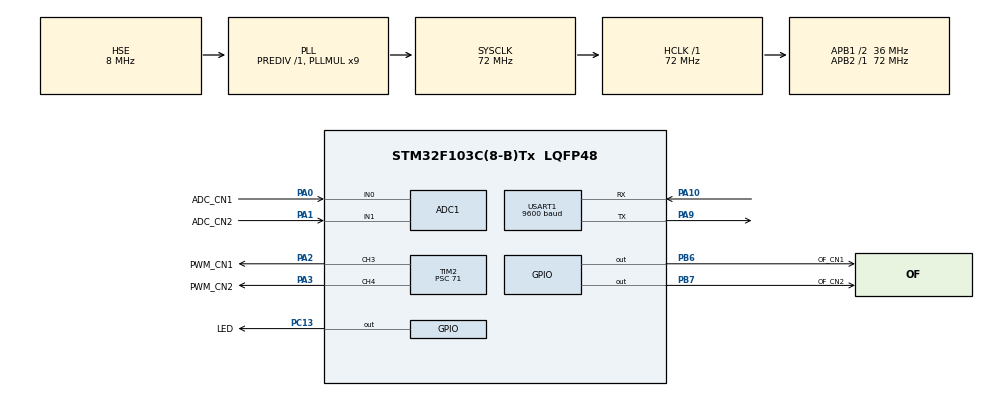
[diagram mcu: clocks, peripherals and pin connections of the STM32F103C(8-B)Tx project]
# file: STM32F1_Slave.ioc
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ADC1.Channel-0\#ChannelRegularConversion=ADC_CHANNEL_0
ADC1.ContinuousConvMode=DISABLE
ADC1.DiscontinuousConvMode=DISABLE
ADC1.NbrOfConversion=1
ADC1.NbrOfConversionFlag=1
ADC1.Rank-0\#ChannelRegularConversion=1
ADC1.SamplingTime-0\#ChannelRegularConversion=ADC_SAMPLETIME_239CYCLES_5
ADC1.master=1
IWDG.Prescaler=IWDG_PRESCALER_256
IWDG.Reload=1500
Mcu.Family=STM32F1
Mcu.Name=STM32F103C(8-B)Tx
Mcu.Package=LQFP48
NVIC.ADC1_2_IRQn=true\:0\:0\:false\:false\:true\:true\:true
NVIC.PriorityGroup=NVIC_PRIORITYGROUP_4
NVIC.TIM3_IRQn=true\:0\:0\:false\:false\:true\:true\:true
NVIC.USART1_IRQn=true\:0\:0\:false\:false\:true\:true\:true
PA0-WKUP.GPIO_Label=ADC_CN1
PA0-WKUP.Signal=ADCx_IN0
PA1.GPIO_Label=ADC_CN2
PA1.Signal=ADCx_IN1
PA10.Mode=Asynchronous
PA10.Signal=USART1_RX
PA13.Mode=Serial_Wire
PA13.Signal=SYS_JTMS-SWDIO
PA14.Mode=Serial_Wire
PA14.Signal=SYS_JTCK-SWCLK
PA2.GPIO_Label=PWM_CN1
PA2.Signal=S_TIM2_CH3
PA3.GPIO_Label=PWM_CN2
PA3.Signal=S_TIM2_CH4
PA9.Mode=Asynchronous
PA9.Signal=USART1_TX
PB6.GPIO_Label=OF_CN1
PB6.GPIO_PuPd=GPIO_PULLDOWN
PB6.Signal=GPIO_Output
PB7.GPIO_Label=OF_CN2
PB7.GPIO_PuPd=GPIO_PULLDOWN
PB7.Signal=GPIO_Output
PC13-TAMPER-RTC.GPIO_Label=LED
PC13-TAMPER-RTC.GPIO_PuPd=GPIO_PULLUP
PC13-TAMPER-RTC.Signal=GPIO_Output
PD0-OSC_IN.Mode=HSE-External-Oscillator
PD0-OSC_IN.Signal=RCC_OSC_IN
PD1-OSC_OUT.Mode=HSE-External-Oscillator
PD1-OSC_OUT.Signal=RCC_OSC_OUT
ProjectManager.HeapSize=0x200
ProjectManager.StackSize=0x400
ProjectManager.TargetToolchain=Makefile
RCC.ADCPresc=RCC_ADCPCLK2_DIV6
RCC.AHBFreq_Value=72000000
RCC.APB1CLKDivider=RCC_HCLK_DIV2
RCC.APB1Freq_Value=36000000
RCC.APB1TimFreq_Value=72000000
RCC.APB2Freq_Value=72000000
RCC.APB2TimFreq_Value=72000000
RCC.HCLKFreq_Value=72000000
RCC.PLLMUL=RCC_PLL_MUL9
RCC.PLLSourceVirtual=RCC_PLLSOURCE_HSE
RCC.SYSCLKFreq_VALUE=72000000
RCC.SYSCLKSource=RCC_SYSCLKSOURCE_PLLCLK
RCC.USBFreq_Value=72000000
SH.ADCx_IN0.0=ADC1_IN0,IN0
SH.ADCx_IN1.0=ADC1_IN1,IN1
SH.S_TIM2_CH3.0=TIM2_CH3,PWM Generation3 CH3
SH.S_TIM2_CH4.0=TIM2_CH4,PWM Generation4 CH4
TIM2.Channel-PWM\ Generation3\ CH3=TIM_CHANNEL_3
TIM2.Channel-PWM\ Generation4\ CH4=TIM_CHANNEL_4
TIM2.Period=999
TIM2.Prescaler=71
TIM3.Period=49
TIM3.Prescaler=71
USART1.BaudRate=9600
USART1.VirtualMode=VM_ASYNC
VP_IWDG_VS_IWDG.Mode=IWDG_Activate
VP_TIM2_VS_ClockSourceINT.Mode=Internal
VP_TIM3_VS_ClockSourceINT.Mode=Internal
board=custom

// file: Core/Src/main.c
/* USER CODE BEGIN Header */
/**
  ******************************************************************************
  * @file           : main.c
  * @brief          : Main program body
  ******************************************************************************
  * @attention
  *
  * Copyright (c) 2022 STMicroelectronics.
  * All rights reserved.
  *
  * This software is licensed under terms that can be found in the LICENSE file
  * in the root directory of this software component.
  * If no LICENSE file comes with this software, it is provided AS-IS.
  *
  ******************************************************************************
  */
/* USER CODE END Header */
#include "main.h"
#include "adc.h"
#include "iwdg.h"
#include "tim.h"
#include "usart.h"
#include "gpio.h"

/* USER CODE BEGIN Includes */

#include "plc.h"
#include "string.h"

/* USER CODE END Includes */

/* USER CODE BEGIN PTD */
typedef enum
{
  RXREADY,
  GET_NEW_MESSAGE,
  PROCESS_MESSAGE
} UARTStateRX;

// typedef enum
// {
//   SENDING,
//   TXREADY
// } UARTStateTX;

typedef struct
{
  uint16_t ADC_0;
  uint16_t ADC_1;
  uint8_t channel;
  uint16_t count[2];
  uint32_t ADC_RMS[2];
  float voltage_RMS[2];
} ADC_t;

typedef struct
{
  uint16_t CN1_Current_mA;
  uint16_t CN2_Current_mA;
} Current_t;

typedef enum
{
  READY,
  MEASURING,
} MeasureState;

/* USER CODE END PTD */

/* USER CODE BEGIN PD */

#define PWM_MAX                 (800)
#define PWM_MIN                 (0)
#define ADC_RESOLUTION          (4095)
#define VCC_mV                  (3300)
#define ADC_MEAN                (3066)
#define SAMPLE                  (20000)
#define OFFSET_CN1_LOW          (-30)
#define OFFSET_CN2_LOW          (-6)
#define LOW_THR_PWM_CN2         (300)
#define SENSITIVITY_mV_per_A    (185)
#define DELAY_READ_CURRENT      (5000)
#define DELAY_RX_CHECK          (5000)
/* USER CODE END PD */

void SystemClock_Config(void);
/* USER CODE BEGIN PFP */

void PLC_MessageHandle(PLCMessage message);

void Measure_Current(void);

/* USER CODE END PFP */

/* USER CODE BEGIN 0 */
uint8_t UART1_rxBuffer[1];
uint8_t message_buffer[PLC_LEN_OF_MESSAGE];
uint8_t byte_count = 0;
UARTStateRX RXstate = RXREADY;
uint16_t CN1_PWM = 0;
uint16_t CN2_PWM = 0;
MeasureState Mstate = READY;
ADC_t ADC = {0, 0, 0, {0, 0}, {0, 0}, {0.0, 0.0}};
Current_t Current = {0.0, 0.0};
/* USER CODE END 0 */

int main(void)
{

  /* MCU Configuration--------------------------------------------------------*/

  /* Reset of all peripherals, Initializes the Flash interface and the Systick. */
  HAL_Init();

  /* Configure the system clock */
  SystemClock_Config();

  /* Initialize all configured peripherals */
  MX_GPIO_Init();
  MX_USART1_UART_Init();
  MX_ADC1_Init();
  MX_TIM2_Init();
  MX_IWDG_Init();
  MX_TIM3_Init();
  /* USER CODE BEGIN 2 */
  HAL_UART_Receive_IT(&huart1, UART1_rxBuffer, 1);
  HAL_Delay(1000);
  uint32_t TickMeasure = 0;
  uint32_t TickRXCheck = 0;
  PLCMessage message;
  uint8_t error[8];

  /* USER CODE END 2 */

  /* Infinite loop */
  while (1)
  {

    /* USER CODE BEGIN 3 */

    HAL_IWDG_Refresh(&hiwdg);

    if (RXstate == PROCESS_MESSAGE)
    {
      HAL_GPIO_TogglePin(LED_GPIO_Port, LED_Pin);
      if (PLC_MessageParser(message_buffer, &message) != HAL_OK)
      {
        message.device.roomAddr = PLC_ROOM_ADDR;
        message.device.deviceAddr = PLC_DEVICE_ADDR;
        message.device.channel = 0;
        message.messageType = PLC_RESPONSE_MESSAGE;
        message.payload = 0;
        PLC_MessageGenerate(error, message);
        HAL_Delay(1000);
        HAL_UART_Transmit(&huart1, (uint8_t*)error, 8, 10);
      }
      else
      {
        PLC_MessageHandle(message);
        HAL_Delay(1000);
        HAL_GPIO_TogglePin(LED_GPIO_Port, LED_Pin);
      }
      RXstate = RXREADY;
      TickRXCheck = HAL_GetTick();
      HAL_UART_Receive_IT(&huart1, UART1_rxBuffer, 1);
    }

    if ((HAL_GetTick() - TickMeasure) > DELAY_READ_CURRENT)
    {
      TickMeasure = HAL_GetTick();
      Measure_Current();
    }

    if (RXstate == RXREADY)   {TickRXCheck = HAL_GetTick();}
    if (((HAL_GetTick() - TickRXCheck) > DELAY_RX_CHECK) && (RXstate == GET_NEW_MESSAGE))
    {
      TickRXCheck = HAL_GetTick();
      uint8_t error[8];
      message.device.roomAddr = PLC_ROOM_ADDR;
      message.device.deviceAddr = PLC_DEVICE_ADDR;
      message.device.channel = 0;
      message.messageType = PLC_RESPONSE_MESSAGE;
      message.payload = 0;
      PLC_MessageGenerate(error, message);
      HAL_Delay(200);
      HAL_UART_Transmit(&huart1, (uint8_t*)error, 8, 10);
      RXstate = RXREADY;
    }
  }
  /* USER CODE END 3 */
}

void SystemClock_Config(void)
{
  RCC_OscInitTypeDef RCC_OscInitStruct = {0};
  RCC_ClkInitTypeDef RCC_ClkInitStruct = {0};
  RCC_PeriphCLKInitTypeDef PeriphClkInit = {0};

  /** Initializes the RCC Oscillators according to the specified parameters
  * in the RCC_OscInitTypeDef structure.
  */
  RCC_OscInitStruct.OscillatorType = RCC_OSCILLATORTYPE_LSI|RCC_OSCILLATORTYPE_HSE;
  RCC_OscInitStruct.HSEState = RCC_HSE_ON;
  RCC_OscInitStruct.HSEPredivValue = RCC_HSE_PREDIV_DIV1;
  RCC_OscInitStruct.HSIState = RCC_HSI_ON;
  RCC_OscInitStruct.LSIState = RCC_LSI_ON;
  RCC_OscInitStruct.PLL.PLLState = RCC_PLL_ON;
  RCC_OscInitStruct.PLL.PLLSource = RCC_PLLSOURCE_HSE;
  RCC_OscInitStruct.PLL.PLLMUL = RCC_PLL_MUL9;
  if (HAL_RCC_OscConfig(&RCC_OscInitStruct) != HAL_OK)
  {
    Error_Handler();
  }
  /** Initializes the CPU, AHB and APB buses clocks
  */
  RCC_ClkInitStruct.ClockType = RCC_CLOCKTYPE_HCLK|RCC_CLOCKTYPE_SYSCLK
                              |RCC_CLOCKTYPE_PCLK1|RCC_CLOCKTYPE_PCLK2;
  RCC_ClkInitStruct.SYSCLKSource = RCC_SYSCLKSOURCE_PLLCLK;
  RCC_ClkInitStruct.AHBCLKDivider = RCC_SYSCLK_DIV1;
  RCC_ClkInitStruct.APB1CLKDivider = RCC_HCLK_DIV2;
  RCC_ClkInitStruct.APB2CLKDivider = RCC_HCLK_DIV1;

  if (HAL_RCC_ClockConfig(&RCC_ClkInitStruct, FLASH_LATENCY_2) != HAL_OK)
  {
    Error_Handler();
  }
  PeriphClkInit.PeriphClockSelection = RCC_PERIPHCLK_ADC;
  PeriphClkInit.AdcClockSelection = RCC_ADCPCLK2_DIV6;
  if (HAL_RCCEx_PeriphCLKConfig(&PeriphClkInit) != HAL_OK)
  {
    Error_Handler();
  }
}

/* USER CODE BEGIN 4 */

void HAL_UART_RxCpltCallback(UART_HandleTypeDef *huart)
{
  if (huart->Instance == USART1)
  {
    switch (RXstate)
    {
      case (RXREADY):
      {
        if (UART1_rxBuffer[0] == '$')
        {
          RXstate = GET_NEW_MESSAGE;
          message_buffer[byte_count++] = '$';
        }
        break;
      }
      case (GET_NEW_MESSAGE):
      {
        message_buffer[byte_count++] = UART1_rxBuffer[0];

        if (byte_count == 8)
        {
          RXstate = PROCESS_MESSAGE;
          byte_count = 0;
        }
        break;
      }
      default:
        break;
    }
  }
  HAL_UART_Receive_IT(&huart1, (uint8_t*)UART1_rxBuffer, 1);
}

void HAL_TIM_PeriodElapsedCallback(TIM_HandleTypeDef *htim)
{
  if (htim->Instance == TIM3)
  {
    ADC_ChannelConfTypeDef sConfig = {0};
    if(ADC.channel == 0)  {sConfig.Channel = ADC_CHANNEL_0;}
    else  {sConfig.Channel = ADC_CHANNEL_1;}
    sConfig.Rank = ADC_REGULAR_RANK_1;
    sConfig.SamplingTime = ADC_SAMPLETIME_239CYCLES_5;
    if (HAL_ADC_ConfigChannel(&hadc1, &sConfig) != HAL_OK)  {Error_Handler();}
    HAL_ADC_Start_IT(&hadc1);
  }
}

void HAL_ADC_ConvCpltCallback(ADC_HandleTypeDef *hadc)
{
  //  If ADC CN0
  if (ADC.channel == 0)
  {
    ADC.ADC_0 = HAL_ADC_GetValue(&hadc1);
    if (ADC.ADC_0 > ADC_MEAN) {ADC.ADC_0 -= ADC_MEAN;}
    else  {ADC.ADC_0 = ADC_MEAN - ADC.ADC_0;}
    ADC.channel = 1;
    ADC.count[0]++;
    if (ADC.ADC_0 != 0)   {ADC.ADC_RMS[0] += ADC.ADC_0;}
    if (ADC.count[0] == SAMPLE)
    {
      ADC.count[0] = 0;
      ADC.ADC_RMS[0] /= SAMPLE;
      ADC.voltage_RMS[0] = (ADC.ADC_RMS[0] * VCC_mV / ADC_RESOLUTION) + OFFSET_CN1_LOW;
      if (HAL_GPIO_ReadPin(OF_CN1_GPIO_Port, OF_CN1_Pin) == GPIO_PIN_RESET) {ADC.voltage_RMS[0] = 0;}
      Current.CN1_Current_mA = ADC.voltage_RMS[0] * 1000 / SENSITIVITY_mV_per_A;
    }
  }
  else
  {
    ADC.ADC_1 = HAL_ADC_GetValue(&hadc1);
    if (ADC.ADC_1 > ADC_MEAN) {ADC.ADC_1 -= ADC_MEAN;}
    else  {ADC.ADC_1 = ADC_MEAN - ADC.ADC_1;}
    ADC.channel = 0;
    ADC.count[1]++;
    if (ADC.ADC_1 != 0)   {ADC.ADC_RMS[1] += ADC.ADC_1;}
    if (ADC.count[1] == SAMPLE)
    {
      ADC.count[1] = 0;
      ADC.ADC_RMS[1] /= SAMPLE;
      ADC.voltage_RMS[1] = (ADC.ADC_RMS[1] * VCC_mV / ADC_RESOLUTION);
      if (CN2_PWM <= LOW_THR_PWM_CN2)       {ADC.voltage_RMS[1] += OFFSET_CN2_LOW;}
      if (HAL_GPIO_ReadPin(OF_CN2_GPIO_Port, OF_CN2_Pin) == GPIO_PIN_RESET) {ADC.voltage_RMS[1] = 0;}
      Current.CN2_Current_mA = ADC.voltage_RMS[1] * 1000 / SENSITIVITY_mV_per_A;
      Mstate = READY;
      HAL_TIM_Base_Stop_IT(&htim3);
    }
  }
}

void Measure_Current(void)
{
  if (Mstate == READY)
  {
    Mstate = MEASURING;
    HAL_TIM_Base_Start_IT(&htim3);
  }
}

void PLC_MessageHandle(PLCMessage message)
{
  switch(message.messageType)
  {
    case (PLC_ONOFF_MESSAGE):
    {
      switch(message.device.channel)
      {
        case (PLC_CHANNEL_01):
          if (message.payload == ON)
          {
            HAL_TIM_PWM_Start(&htim2, TIM_CHANNEL_3);
            HAL_GPIO_WritePin(OF_CN1_GPIO_Port, OF_CN1_Pin, 1);
          }
          else
          {
            HAL_TIM_PWM_Stop(&htim2, TIM_CHANNEL_3);
            HAL_GPIO_WritePin(OF_CN1_GPIO_Port, OF_CN1_Pin, 0);
          }
          break;
        case (PLC_CHANNEL_02):
          if (message.payload == ON)
          {
            HAL_TIM_PWM_Start(&htim2, TIM_CHANNEL_4);
            HAL_GPIO_WritePin(OF_CN2_GPIO_Port, OF_CN2_Pin, 1);
          }
          else
          {
            HAL_TIM_PWM_Stop(&htim2, TIM_CHANNEL_4);
            HAL_GPIO_WritePin(OF_CN2_GPIO_Port, OF_CN2_Pin, 0);
          }
          break;
      }

      uint8_t buffer[8];
      message.device.roomAddr = PLC_ROOM_ADDR;
      message.device.deviceAddr = PLC_DEVICE_ADDR;
      message.device.channel = 0;
      message.messageType = PLC_RESPONSE_MESSAGE;
      message.payload = 1;
      PLC_MessageGenerate(buffer, message);
      HAL_Delay(1000);
      HAL_UART_Transmit(&huart1, (uint8_t*)buffer, 8, 10);

      break;
    }
    case (PLC_PWM_MESSAGE):
    {
      switch (message.device.channel)
      {
        case (PLC_CHANNEL_01):
        {
          CN1_PWM = message.payload;
          __HAL_TIM_SetCompare(&htim2, TIM_CHANNEL_3, message.payload);
          break;
        }
        case (PLC_CHANNEL_02):
        {
          CN2_PWM = message.payload;
          __HAL_TIM_SetCompare(&htim2, TIM_CHANNEL_4, message.payload);
          break;
        }
      }

      uint8_t buffer[8];
      message.device.roomAddr = PLC_ROOM_ADDR;
      message.device.deviceAddr = PLC_DEVICE_ADDR;
      message.device.channel = 0;
      message.messageType = PLC_RESPONSE_MESSAGE;
      message.payload = 1;
      PLC_MessageGenerate(buffer, message);
      HAL_Delay(1000);
      HAL_UART_Transmit(&huart1, (uint8_t*)buffer, 8, 10);

      break;
    }
    case (PLC_REQUEST_CURRENT):
    {
      uint8_t current[8];
      if (message.device.channel == PLC_CHANNEL_01)       {message.payload = Current.CN1_Current_mA;}
      else if (message.device.channel == PLC_CHANNEL_02)  {message.payload = Current.CN2_Current_mA;}
      PLC_MessageGenerate(current, message);
      HAL_UART_Transmit(&huart1, (uint8_t*)current, 8, 10);
      break;
    }
    default:
      break;
  }
}

/* USER CODE END 4 */

void Error_Handler(void)
{
  __disable_irq();
  while (1)
  {
  }
}
